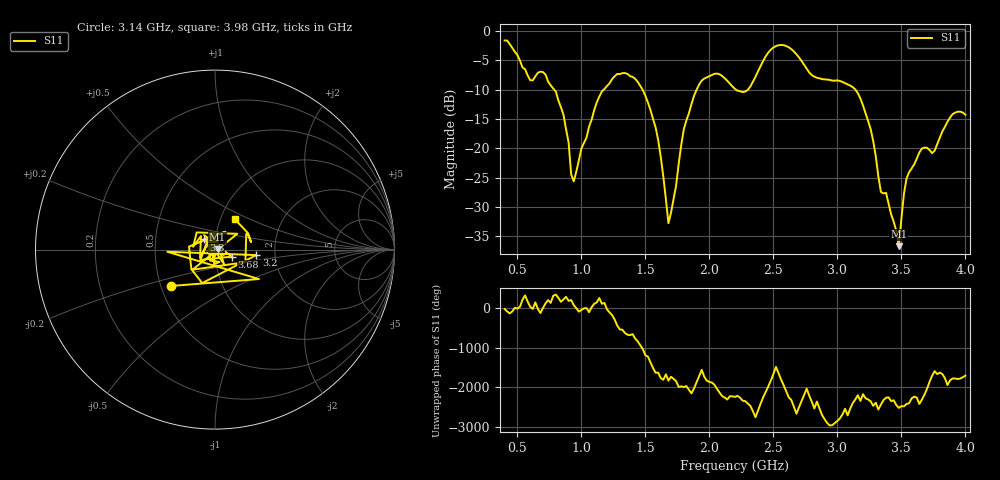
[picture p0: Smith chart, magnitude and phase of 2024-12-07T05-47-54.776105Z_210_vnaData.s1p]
!Created with skrf (http://scikit-rf.org).
# Hz S RI R 50.0
!freq ReS11 ImS11
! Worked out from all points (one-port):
!   181 points, 400 MHz to 4 GHz, reference 50 ohm
!   lowest |S11| = -36.7 dB at 3.48 GHz (marker M1), VSWR 1.03, Z = 51.5 + j0.22 ohm
!   |S11| at or under -10 dB: 788 MHz to 1.174 GHz (385.8 MHz wide, 39.3 % of centre); 1.478 GHz to 1.9 GHz (422 MHz wide, 25 % of centre); 3.142 GHz to end of sweep (the widest 3 of 4)
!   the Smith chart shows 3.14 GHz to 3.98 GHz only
!   S11 on the Smith chart (normalised r, x): 3.14 GHz: 0.56, -0.25; 3.2 GHz: 1.59, -0.10; 3.3 GHz: 0.87, +0.10; 3.68 GHz: 1.20, -0.10; 3.98 GHz: 1.17, +0.41
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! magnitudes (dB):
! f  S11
! 400 MHz  -1.6
! 600 MHz  -8.4
! 720 MHz  -7.4
! 860 MHz  -14.3
! 940 MHz  -25.6
! 1.12 GHz  -12.2
! 1.3 GHz  -7.3
! 1.54 GHz  -13.5
! 1.6 GHz  -18.6
! 1.68 GHz  -32.8
! 1.76 GHz  -22.7
! 1.8 GHz  -16.7
! 1.94 GHz  -8.4
! 2.2 GHz  -9.9
! 2.3 GHz  -10.0
! 2.5 GHz  -2.8
! 2.66 GHz  -3.5
! 3.1 GHz  -9.3
! 3.14 GHz  -9.9
! 3.2 GHz  -12.7
! 3.3 GHz  -21.4
! 3.34 GHz  -27.4
! 3.48 GHz  -36.7
! 3.52 GHz  -27.7
! 3.56 GHz  -24.1
! 3.68 GHz  -19.9
! 3.98 GHz  -13.9
! 4 GHz  -14.3
